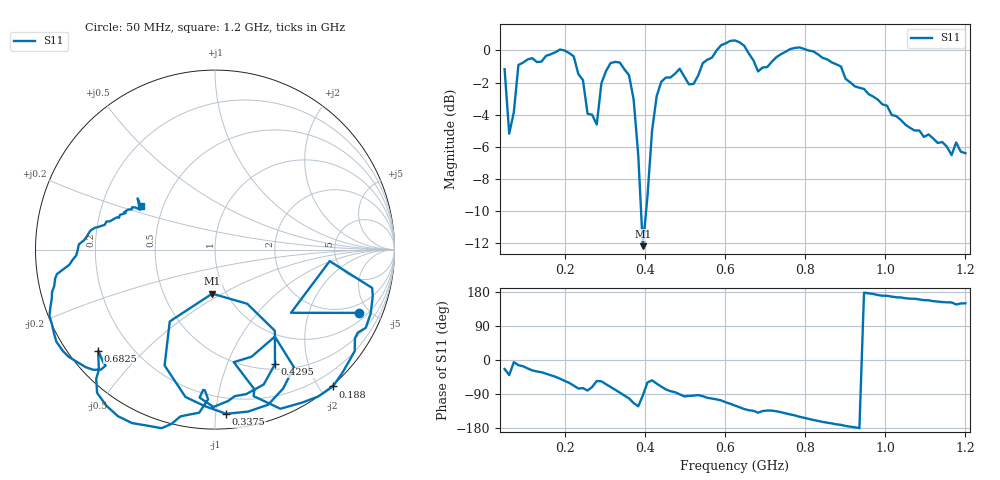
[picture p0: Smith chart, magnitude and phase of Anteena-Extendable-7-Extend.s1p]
# HZ S RI R 50
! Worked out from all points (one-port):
!   101 points, 50 MHz to 1.2 GHz, reference 50 ohm
!   lowest |S11| = -12.2 dB at 395 MHz (marker M1), VSWR 1.65, Z = 43 - j22.5 ohm
!   |S11| at or under -10 dB: 390.6 MHz to 403.1 MHz (12.54 MHz wide, 3.16 % of centre)
!   S11 on the Smith chart (normalised r, x): 50 MHz: 1.43, -4.29; 188 MHz: -0.02, -2.18; 337.5 MHz: 0.09, -1.07; 429.5 MHz: 0.57, -1.50; 682.5 MHz: 0.09, -0.37; 1.2 GHz: 0.37, +0.23
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5e7  0.8 -0.3526
6.15e7  0.4236 -0.352
7.3e7  0.6389 -0.0643
8.45e7  0.8756 -0.2137
1.88e8  0.6574 -0.7622
1.995e8  0.5746 -0.8186
2.225e8  0.3645 -0.8867
2.57e8  0.1045 -0.627
2.8e8  0.3334 -0.4846
2.915e8  0.4397 -0.6554
3.375e8  0.0623 -0.9149
3.605e8  -0.1645 -0.8212
3.72e8  -0.2808 -0.6455
3.835e8  -0.2522 -0.4004
3.95e8  -0.0156 -0.2455
4.18e8  0.3335 -0.4522
4.295e8  0.3342 -0.6383
4.87e8  -0.00871 -0.8768
5.33e8  -0.0384 -0.8341
5.905e8  -0.2973 -0.995
6.25e8  -0.5412 -0.928
6.825e8  -0.6508 -0.5625
7.285e8  -0.6787 -0.6697
7.745e8  -0.8463 -0.5663
8.205e8  -0.9225 -0.3686
9.125e8  -0.7936 -0.0574
1.062e9  -0.5452 0.1802
1.2e9  -0.4135 0.2416
